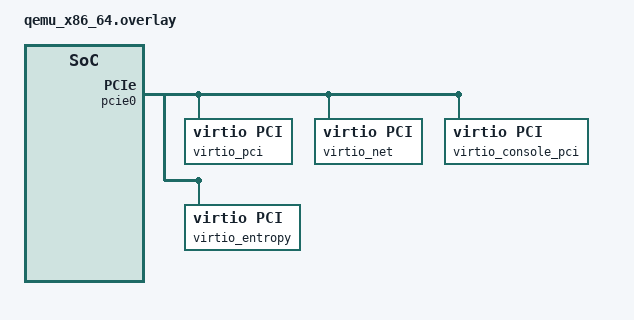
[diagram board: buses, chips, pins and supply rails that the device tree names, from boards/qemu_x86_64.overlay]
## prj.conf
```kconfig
CONFIG_TEST=y
CONFIG_VIRTIO=y
CONFIG_UART_VIRTIO_CONSOLE_F_MULTIPORT=y
CONFIG_ENTROPY_GENERATOR=y
CONFIG_NETWORKING=y
CONFIG_INPUT=y
```

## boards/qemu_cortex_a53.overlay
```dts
/*
 * Copyright (c) 2025 TOKITA Hiroshi
 *
 * SPDX-License-Identifier: Apache-2.0
 */

/ {
	chosen {
		zephyr,entropy = &virtio_entropy;
		zephyr,console = &virtio_console;
	};
};

&virtio_mmio0 {
	status = "okay";

	virtio_entropy: virtio-entropy {
		compatible = "virtio,device4";
		status = "okay";
	};
};

&virtio_mmio1 {
	status = "okay";

	virtio_console: virtio-console {
		compatible = "virtio,console";
		status = "okay";
	};
};

&virtio_mmio2 {
	status = "okay";

	virtio_net: virtio-net {
		compatible = "virtio,net";
		zephyr,random-mac-address;
		status = "okay";
	};
};

/* virtio_mmio3 hosts the virtio,input device provided by the board. */
```

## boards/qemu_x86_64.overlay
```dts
/*
 * Copyright (c) 2024-2025 Antmicro <www.antmicro.com>
 *
 * SPDX-License-Identifier: Apache-2.0
 */

/ {
	chosen {
		zephyr,console = &virtio_console;
		zephyr,entropy = &virtio_entropy;
	};
};

&pcie0 {
	virtio_pci: virtio-pci {
		compatible = "virtio,pci";

		vendor-id = <0x1af4>;
		device-id = <0x105a>;

		interrupts = <0xb 0x0 0x0>;
		interrupt-parent = <&intc>;

		status = "okay";
	};

	virtio_net: virtio-net {
		compatible = "virtio,pci";

		vendor-id = <0x1af4>;
		device-id = <0x1000>;

		interrupts = <0xb 0x0 0x0>;
		interrupt-parent = <&intc>;

		device {
			compatible = "virtio,net";
			zephyr,random-mac-address;
			status = "okay";
		};
	};

	virtio_console_pci: virtio-console-pci {
		compatible = "virtio,pci";

		vendor-id = <0x1af4>;
		device-id = <0x1003>;

		interrupts = <0xb 0x0 0x0>;
		interrupt-parent = <&intc>;

		virtio_console: virtio-console {
			compatible = "virtio,console";
			status = "okay";
		};
	};

	virtio_entropy: virtio-entropy {
		compatible = "virtio,pci";

		vendor-id = <0x1af4>;
		device-id = <0x1005>;

		interrupts = <0xb 0x0 0x0>;
		interrupt-parent = <&intc>;

		status = "okay";

		device {
			compatible = "virtio,device4";
			status = "okay";
		};
	};
};
```

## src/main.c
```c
/*
 * Copyright (c) 2024 Antmicro <www.antmicro.com>
 *
 * SPDX-License-Identifier: Apache-2.0
 */

int main(void)
{
	return 0;
}
```
